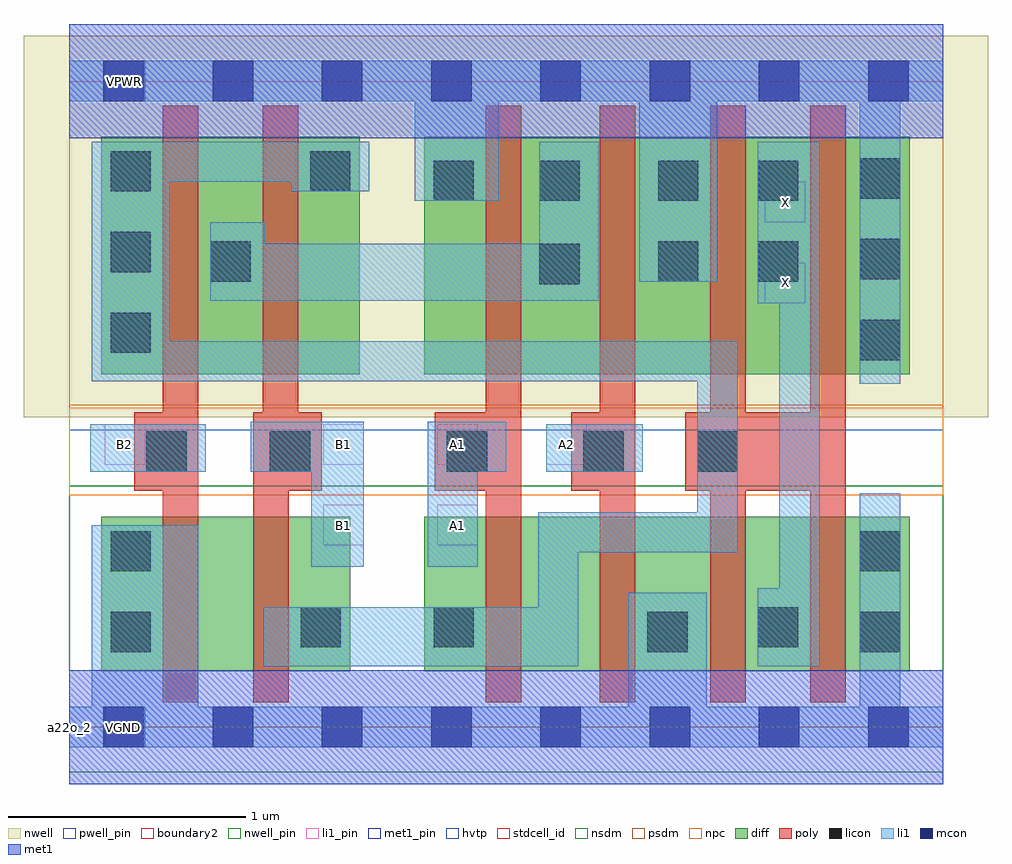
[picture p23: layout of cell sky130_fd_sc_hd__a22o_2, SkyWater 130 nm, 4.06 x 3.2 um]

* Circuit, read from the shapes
.subckt sky130_fd_sc_hd__a22o_2 A1 A2 B1 B2 VGND VNB VPB VPWR X
XM1 n1 B2 VGND VNB sky130_fd_pr__nfet_01v8 w=0.65 l=0.15
XM2 n2 B1 n1 VNB sky130_fd_pr__nfet_01v8 w=0.65 l=0.15
XM3 n3 A1 n2 VNB sky130_fd_pr__nfet_01v8 w=0.65 l=0.15
XM4 VGND A2 n3 VNB sky130_fd_pr__nfet_01v8 w=0.65 l=0.15
XM5 X n2 VGND VNB sky130_fd_pr__nfet_01v8 w=0.65 l=0.15 m=2
XM6 n4 B2 n2 VPB sky130_fd_pr__pfet_01v8_hvt w=1 l=0.15
XM7 n2 B1 n4 VPB sky130_fd_pr__pfet_01v8_hvt w=1 l=0.15
XM8 n4 A1 VPWR VPB sky130_fd_pr__pfet_01v8_hvt w=1 l=0.15
XM9 VPWR A2 n4 VPB sky130_fd_pr__pfet_01v8_hvt w=1 l=0.15
XM10 X n2 VPWR VPB sky130_fd_pr__pfet_01v8_hvt w=1 l=0.15 m=2
.ends

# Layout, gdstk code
import gdstk
lib = gdstk.Library(unit=1e-6, precision=1e-09)
def R(c, l, rs):  # rectangles x0, y0, x1, y1
    for r in rs: c.add(gdstk.rectangle(r[:2], r[2:], *l))
def A(c, l, x, y, w, h, nx, ny, dx, dy):  # array of equal rectangles
    R(c, l, [(x+i*dx, y+j*dy, x+i*dx+w, y+j*dy+h) for i in range(nx) for j in range(ny)])
def P(c, l, *ps):  # polygons
    for p in ps: c.add(gdstk.Polygon(p, *l))
nwell_pin = (64, 16)
nwell = (64, 20)
diff = (65, 20)
poly = (66, 20)
licon = (66, 44)
li1_pin = (67, 16)
li1 = (67, 20)
mcon = (67, 44)
met1_pin = (68, 16)
met1 = (68, 20)
hvtp = (78, 44)
stdcell_id = (81, 4)
nsdm = (93, 44)
psdm = (94, 20)
npc = (95, 20)
pwell_pin = (122, 16)
boundary2 = (236, 0)

sky130_fd_sc_hd__a22o_2 = lib.new_cell('sky130_fd_sc_hd__a22o_2')
R(sky130_fd_sc_hd__a22o_2, nwell_pin, [(0.15,2.635,0.32,2.805)])
R(sky130_fd_sc_hd__a22o_2, nwell, [(-0.19,1.305,3.87,2.91)])
R(sky130_fd_sc_hd__a22o_2, diff, [(0.135,0.235,1.185,0.885), (1.495,0.235,3.54,0.885), (0.135,1.485,1.225,2.485), (1.495,1.485,3.54,2.485)])
P(sky130_fd_sc_hd__a22o_2, poly, [(0.545,2.615),(0.395,2.615),(0.395,1.325),(0.275,1.325),(0.275,0.995),(0.395,0.995),(0.395,0.105),(0.545,0.105)],
  [(1.065,1.325),(0.965,1.325),(0.965,2.615),(0.815,2.615),(0.815,1.325),(0.775,1.325),(0.775,0.105),(0.925,0.105),(0.925,0.995),(1.065,0.995)],
  [(1.905,2.615),(1.755,2.615),(1.755,1.325),(1.54,1.325),(1.54,0.995),(1.755,0.995),(1.755,0.105),(1.905,0.105)],
  [(2.385,2.615),(2.235,2.615),(2.235,1.325),(2.115,1.325),(2.115,0.995),(2.235,0.995),(2.235,0.105),(2.385,0.105)],
  [(3.27,2.615),(3.12,2.615),(3.12,1.325),(2.85,1.325),(2.85,2.615),(2.7,2.615),(2.7,1.325),(2.595,1.325),(2.595,0.995),(2.7,0.995),(2.7,0.105),(2.85,0.105),(2.85,0.995),(3.12,0.995),(3.12,0.105),(3.27,0.105)])
A(sky130_fd_sc_hd__a22o_2, licon, 3.33, 1.545, 0.17, 0.17, 1, 3, 0, 0.34)
A(sky130_fd_sc_hd__a22o_2, licon, 0.175, 1.575, 0.17, 0.17, 1, 3, 0, 0.34)
R(sky130_fd_sc_hd__a22o_2, licon, [(0.175,0.315,0.345,0.485), (2.435,0.315,2.605,0.485), (3.33,0.315,3.5,0.485), (0.975,0.335,1.145,0.505), (1.535,0.335,1.705,0.505), (2.9,0.335,3.07,0.505), (0.175,0.655,0.345,0.825), (3.33,0.655,3.5,0.825), (0.325,1.075,0.495,1.245), (0.845,1.075,1.015,1.245), (1.59,1.075,1.76,1.245), (2.165,1.075,2.335,1.245), (2.645,1.075,2.815,1.245), (1.98,1.865,2.15,2.035), (0.595,1.875,0.765,2.045), (2.48,1.875,2.65,2.045), (2.9,1.875,3.07,2.045), (1.535,2.215,1.705,2.385), (1.98,2.215,2.15,2.385), (2.48,2.215,2.65,2.385), (2.9,2.215,3.07,2.385), (1.015,2.255,1.185,2.425)])
R(sky130_fd_sc_hd__a22o_2, li1_pin, [(1.07,0.765,1.24,0.935), (1.55,0.765,1.72,0.935), (0.15,1.105,0.32,1.275), (1.07,1.105,1.24,1.275), (1.55,1.105,1.72,1.275), (2.01,1.105,2.18,1.275), (2.93,1.785,3.1,1.955), (2.93,2.125,3.1,2.295)])
R(sky130_fd_sc_hd__a22o_2, li1, [(0.09,1.075,0.575,1.275), (2.01,1.075,2.415,1.275)])
P(sky130_fd_sc_hd__a22o_2, li1, [(3.68,0.085),(3.5,0.085),(3.5,0.985),(3.33,0.985),(3.33,0.085),(2.685,0.085),(2.685,0.565),(2.355,0.565),(2.355,0.085),(0.545,0.085),(0.545,0.85),(0.095,0.85),(0.095,0.085),(0,0.085),(0,-0.085),(3.68,-0.085)],
  [(3.68,2.805),(0,2.805),(0,2.635),(1.455,2.635),(1.455,2.215),(1.81,2.215),(1.81,2.635),(2.4,2.635),(2.4,1.875),(2.73,1.875),(2.73,2.635),(3.33,2.635),(3.33,1.445),(3.5,1.445),(3.5,2.635),(3.68,2.635)],
  [(1.24,1.285),(0.765,1.285),(0.765,1.075),(1.02,1.075),(1.02,0.675),(1.24,0.675)],
  [(3.16,2.465),(2.9,2.465),(2.9,1.785),(2.99,1.785),(2.99,0.585),(2.9,0.585),(2.9,0.255),(3.16,0.255)],
  [(2.815,1.625),(0.425,1.625),(0.425,2.295),(0.935,2.295),(0.935,2.255),(1.265,2.255),(1.265,2.465),(0.095,2.465),(0.095,1.455),(2.645,1.455),(2.645,0.905),(1.975,0.905),(1.975,0.505),(0.82,0.505),(0.82,0.255),(2.145,0.255),(2.145,0.735),(2.815,0.735)],
  [(2.23,2.465),(1.98,2.465),(1.98,2.035),(0.825,2.035),(0.825,2.125),(0.595,2.125),(0.595,1.795),(2.23,1.795)],
  [(1.84,1.285),(1.51,1.285),(1.51,0.675),(1.72,0.675),(1.72,1.075),(1.84,1.075)])
A(sky130_fd_sc_hd__a22o_2, mcon, 0.145, -0.085, 0.17, 0.17, 8, 2, 0.46, 2.72)
R(sky130_fd_sc_hd__a22o_2, met1_pin, [(0.15,-0.085,0.32,0.085), (0.15,2.635,0.32,2.805)])
R(sky130_fd_sc_hd__a22o_2, hvtp, [(0,1.25,3.68,2.72)])
R(sky130_fd_sc_hd__a22o_2, stdcell_id, [(0,0,3.68,2.72)])
R(sky130_fd_sc_hd__a22o_2, nsdm, [(0,-0.19,3.68,1.015)])
R(sky130_fd_sc_hd__a22o_2, psdm, [(0,1.355,3.68,2.91)])
R(sky130_fd_sc_hd__a22o_2, npc, [(0,0.975,3.68,1.345)])
R(sky130_fd_sc_hd__a22o_2, pwell_pin, [(0.15,-0.085,0.32,0.085)])
R(sky130_fd_sc_hd__a22o_2, boundary2, [(0,0,3.68,2.72)])
sky130_fd_sc_hd__a22o_2.add(gdstk.FlexPath([(0,2.72),(3.68,2.72)], 0.48, ends="flush", simple_path=True, layer=68, datatype=20))  # met1
sky130_fd_sc_hd__a22o_2.add(gdstk.FlexPath([(0,0),(3.68,0)], 0.48, ends="flush", simple_path=True, layer=68, datatype=20))  # met1
sky130_fd_sc_hd__a22o_2.add(gdstk.Label('A1', (1.635,1.19), layer=67, texttype=5))
sky130_fd_sc_hd__a22o_2.add(gdstk.Label('A2', (2.095,1.19), layer=67, texttype=5))
sky130_fd_sc_hd__a22o_2.add(gdstk.Label('X', (3.015,2.21), layer=67, texttype=5))
sky130_fd_sc_hd__a22o_2.add(gdstk.Label('B2', (0.235,1.19), layer=67, texttype=5))
sky130_fd_sc_hd__a22o_2.add(gdstk.Label('B1', (1.155,1.19), layer=67, texttype=5))
sky130_fd_sc_hd__a22o_2.add(gdstk.Label('A1', (1.635,0.85), layer=67, texttype=5))
sky130_fd_sc_hd__a22o_2.add(gdstk.Label('B1', (1.155,0.85), layer=67, texttype=5))
sky130_fd_sc_hd__a22o_2.add(gdstk.Label('X', (3.015,1.87), layer=67, texttype=5))
sky130_fd_sc_hd__a22o_2.add(gdstk.Label('VPWR', (0.235,2.72), layer=68, texttype=5))
sky130_fd_sc_hd__a22o_2.add(gdstk.Label('VGND', (0.23,0), layer=68, texttype=5))
sky130_fd_sc_hd__a22o_2.add(gdstk.Label('VPB', (0.235,2.72), layer=64, texttype=5))
sky130_fd_sc_hd__a22o_2.add(gdstk.Label('VNB', (0.23,0), layer=64, texttype=59))
sky130_fd_sc_hd__a22o_2.add(gdstk.Label('a22o_2', (0,0), layer=83, texttype=44))

lib.write_gds('sky130_fd_sc_hd__a22o_2.gds')
